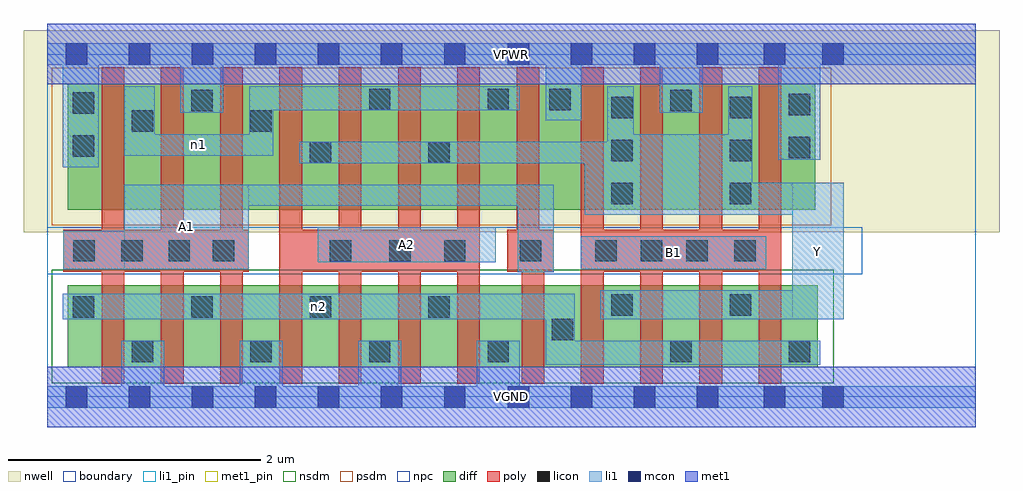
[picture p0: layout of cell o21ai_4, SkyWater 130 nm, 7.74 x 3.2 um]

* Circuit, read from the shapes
.subckt o21ai_4 A1 A2 B1 VGND VPWR Y n1 n2
XM1 VGND A1 n2 VSUBS sky130_fd_pr__nfet_01v8 w=0.65 l=0.18 m=4
XM2 n2 A2 VGND VSUBS sky130_fd_pr__nfet_01v8 w=0.65 l=0.18 m=4
XM3 Y B1 n2 VSUBS sky130_fd_pr__nfet_01v8 w=0.65 l=0.18 m=4
XM4 n1 A1 VPWR n3 sky130_fd_pr__pfet_01v8 w=1 l=0.18 m=4
XM5 Y A2 n1 n3 sky130_fd_pr__pfet_01v8 w=1 l=0.18 m=4
XM6 Y B1 VPWR n3 sky130_fd_pr__pfet_01v8 w=1 l=0.18 m=4
.ends

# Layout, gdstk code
import gdstk
lib = gdstk.Library(unit=1e-6, precision=1e-09)
def R(c, l, rs):  # rectangles x0, y0, x1, y1
    for r in rs: c.add(gdstk.rectangle(r[:2], r[2:], *l))
def A(c, l, x, y, w, h, nx, ny, dx, dy):  # array of equal rectangles
    R(c, l, [(x+i*dx, y+j*dy, x+i*dx+w, y+j*dy+h) for i in range(nx) for j in range(ny)])
nwell = (64, 20)
diff = (65, 20)
poly = (66, 20)
licon = (66, 44)
li1_pin = (67, 16)
li1 = (67, 20)
mcon = (67, 44)
met1_pin = (68, 16)
met1 = (68, 20)
nsdm = (93, 44)
psdm = (94, 20)
npc = (95, 20)
boundary = (235, 4)

o21ai_4 = lib.new_cell('o21ai_4')
R(o21ai_4, nwell, [(-0.19,1.305,7.55,2.91), (0,1.305,7.36,2.91)])
R(o21ai_4, diff, [(0.16,0.235,6.11,0.885), (0.16,1.485,6.09,2.485)])
A(o21ai_4, poly, 0.43, 0.105, 0.18, 2.51, 7, 1, 0.47, 0)
A(o21ai_4, poly, 4.23, 0.105, 0.18, 2.51, 4, 1, 0.47, 0)
R(o21ai_4, poly, [(3.76,0.105,3.94,1.325), (0.125,0.995,1.595,1.325), (1.84,0.995,3.43,1.325), (3.645,0.995,4.015,1.325), (3.72,0.995,3.9,2.615), (4.23,0.995,5.82,1.325)])
A(o21ai_4, licon, 0.67, 0.275, 0.17, 0.17, 4, 1, 0.94, 0)
A(o21ai_4, licon, 0.2, 0.63, 0.17, 0.17, 4, 1, 0.94, 0)
A(o21ai_4, licon, 3.145, 1.075, 0.17, 0.17, 3, 1, 0.6, 0)
A(o21ai_4, licon, 4.47, 1.53, 0.17, 0.17, 1, 3, 0, 0.34)
A(o21ai_4, licon, 5.41, 1.53, 0.17, 0.17, 1, 3, 0, 0.34)
R(o21ai_4, licon, [(4.94,0.275,5.11,0.445), (5.88,0.275,6.05,0.445), (4,0.45,4.17,0.62), (4.47,0.645,4.64,0.815), (5.41,0.645,5.58,0.815), (0.205,1.075,0.375,1.245), (0.585,1.075,0.755,1.245), (0.96,1.075,1.13,1.245), (1.31,1.075,1.48,1.245), (2.24,1.075,2.41,1.245), (2.71,1.075,2.88,1.245), (4.705,1.075,4.875,1.245), (5.065,1.075,5.235,1.245), (5.445,1.075,5.615,1.245), (2.08,1.855,2.25,2.025), (3.02,1.855,3.19,2.025), (5.88,1.895,6.05,2.065), (0.2,1.905,0.37,2.075), (0.67,2.105,0.84,2.275), (1.61,2.105,1.78,2.275), (5.88,2.235,6.05,2.405), (0.2,2.245,0.37,2.415), (1.14,2.265,1.31,2.435), (4.94,2.265,5.11,2.435), (2.55,2.275,2.72,2.445), (3.49,2.275,3.66,2.445), (3.98,2.275,4.15,2.445)])
R(o21ai_4, li1_pin, [(5.905,0.615,6.315,1.7), (0.61,1.015,1.595,1.685), (4.23,1.015,5.7,1.275), (2.145,1.07,3.555,1.345)])
A(o21ai_4, li1, 0.585, -0.085, 0.34, 0.53, 4, 1, 0.94, 0)
R(o21ai_4, li1, [(0,-0.085,7.36,0.085), (3.95,0.255,6.13,0.445), (3.95,0.255,4.18,0.82), (0.12,0.615,4.18,0.82), (4.385,0.615,6.315,0.845), (5.905,0.615,6.315,1.7), (3.73,0.99,4.015,1.685), (0.125,1.015,1.595,1.32), (0.61,1.015,1.595,1.685), (4.23,1.015,5.7,1.275), (2.145,1.07,3.555,1.345), (4.26,1.445,6.315,1.7), (4.26,1.445,5.59,1.855), (4.44,1.445,5.4,2.085), (4.44,1.445,4.65,2.465), (5.4,1.445,5.59,2.465), (0.61,1.515,4.015,1.685), (0.12,1.82,0.405,2.805), (1.995,1.855,5.59,2.025), (5.795,1.88,6.13,2.805), (0.61,1.915,1.79,2.085), (0.61,1.915,0.85,2.465), (1.6,1.915,1.79,2.465), (3.95,2.195,4.235,2.805), (1.055,2.255,1.395,2.805), (4.855,2.255,5.195,2.805), (1.6,2.275,3.745,2.465), (0,2.635,7.36,2.805)])
A(o21ai_4, mcon, 0.145, -0.085, 0.17, 0.17, 7, 2, 0.5, 2.72)
A(o21ai_4, mcon, 3.65, -0.085, 0.17, 0.17, 4, 2, 0.5, 2.72)
R(o21ai_4, mcon, [(5.68,-0.085,5.85,0.085), (6.145,-0.085,6.315,0.085), (5.68,2.635,5.85,2.805), (6.145,2.635,6.315,2.805)])
R(o21ai_4, met1_pin, [(0,-0.24,7.36,0.24), (0,2.48,7.36,2.96)])
R(o21ai_4, met1, [(0,-0.24,7.36,0.24), (0,2.48,7.36,2.96)])
R(o21ai_4, nsdm, [(0.035,0.11,6.235,1.01)])
R(o21ai_4, psdm, [(0.035,1.36,6.215,2.61)])
R(o21ai_4, npc, [(0,0.975,6.46,1.345)])
R(o21ai_4, boundary, [(0,0,7.36,2.72)])
o21ai_4.add(gdstk.Label('A1', (1.102,1.35), layer=67, texttype=5))
o21ai_4.add(gdstk.Label('A2', (2.85,1.207), layer=67, texttype=5))
o21ai_4.add(gdstk.Label('B1', (4.965,1.145), layer=67, texttype=5))
o21ai_4.add(gdstk.Label('Y', (6.11,1.157), layer=67, texttype=5))
o21ai_4.add(gdstk.Label('n2', (2.15,0.717), layer=67, texttype=5))
o21ai_4.add(gdstk.Label('n1', (1.2,2), layer=67, texttype=5))
o21ai_4.add(gdstk.Label('VPWR', (3.68,2.72), layer=68, texttype=5))
o21ai_4.add(gdstk.Label('VGND', (3.68,0), layer=68, texttype=5))
o21ai_4.add(gdstk.Label('A1', (1.102,1.35), layer=67, texttype=16))
o21ai_4.add(gdstk.Label('A2', (2.85,1.207), layer=67, texttype=16))
o21ai_4.add(gdstk.Label('B1', (4.965,1.145), layer=67, texttype=16))
o21ai_4.add(gdstk.Label('Y', (6.11,1.157), layer=67, texttype=16))
o21ai_4.add(gdstk.Label('VPWR', (3.68,2.72), layer=68, texttype=16))
o21ai_4.add(gdstk.Label('VGND', (3.68,0), layer=68, texttype=16))

lib.write_gds('o21ai_4.gds')
